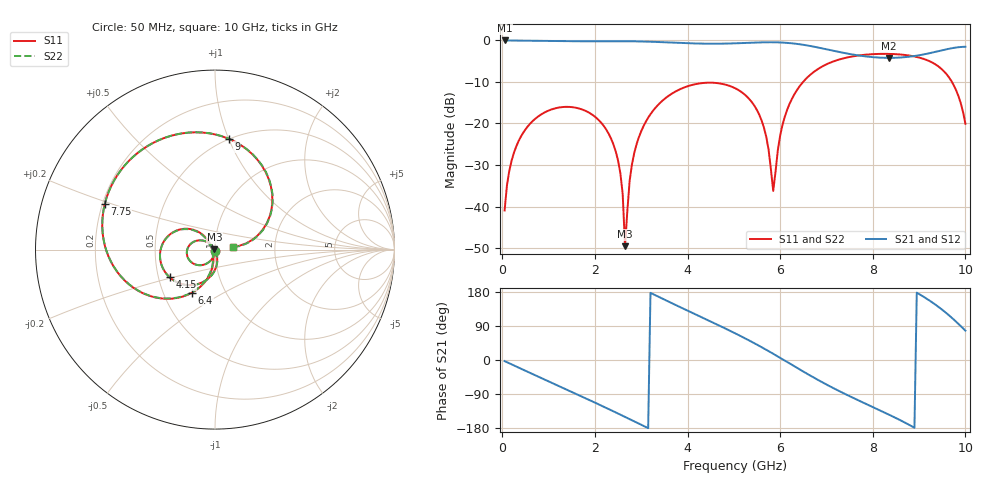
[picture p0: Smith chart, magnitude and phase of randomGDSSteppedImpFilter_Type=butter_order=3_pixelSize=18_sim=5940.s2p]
! freq	dB(S11)	phase(S11)	dB(S12)	phase(S12)
!  dB(S21)	phase(S21)	dB(S22)	phase(S22)
!S-par simulation data
#  GHz  S  DB  R 50
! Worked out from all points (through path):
!   200 points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, 50 MHz to 10 GHz, reference 50 ohm
!   highest |S21| = 0.00 dB at 50 MHz (marker M1); lowest = -4.2 dB at 8.35 GHz (marker M2)
!   group delay of S21, straight-line fit = 173 ps
!   lowest |S11| = -49.5 dB at 2.65 GHz (marker M3), VSWR 1.01, Z = 49.7 + j0.127 ohm
!   |S11| at or under -10 dB: start of sweep to 6.495 GHz; 9.709 GHz to end of sweep
!   |S22| runs from -50.8 to -3.2 dB; largest |S21 - S12| = 0
!   S11 on the Smith chart (normalised r, x): 50 MHz: 1.00, -0.02; 4.15 GHz: 0.57, -0.19; 6.4 GHz: 0.70, -0.36; 7.75 GHz: 0.21, +0.19; 9 GHz: 0.50, +1.00; 10 GHz: 1.22, +0.04
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0.05  -40.95 -92.4  -0.00 -2.9  -0.00 -2.9  -40.95 -92.4
0.2  -28.98 -101.4  -0.03 -11.5  -0.03 -11.5  -28.98 -101.4
0.55  -20.70 -121.5  -0.07 -31.3  -0.07 -31.3  -20.70 -121.5
1.75  -16.74 171.3  -0.21 -98.3  -0.21 -98.3  -16.74 171.1
2.45  -26.74 132.5  -0.18 -138.4  -0.18 -138.4  -26.74 131.6
2.6  -37.00 128.1  -0.18 -147.2  -0.18 -147.2  -37.05 124.4
2.65  -49.54 157.5  -0.19 -150.1  -0.19 -150.1  -50.79 137.2
2.75  -33.80 -71.2  -0.20 -156.0  -0.20 -156.0  -33.82 -68.4
2.85  -27.08 -74.8  -0.21 -162.0  -0.21 -162.0  -27.08 -73.4
3.4  -15.11 -105.8  -0.39 165.3  -0.39 165.3  -15.11 -105.3
4.15  -10.57 -148.7  -0.72 121.6  -0.72 121.6  -10.57 -148.3
5.05  -11.64 160.3  -0.69 69.1  -0.69 69.1  -11.64 160.9
5.6  -19.29 129.7  -0.46 33.8  -0.46 33.8  -19.27 131.1
5.85  -36.26 -170.2  -0.44 16.4  -0.44 16.4  -34.90 -169.3
6.05  -20.37 -98.1  -0.51 2.1  -0.51 2.1  -20.32 -99.7
6.4  -11.35 -117.9  -0.88 -23.3  -0.88 -23.3  -11.34 -118.4
6.7  -7.81 -138.1  -1.44 -44.6  -1.44 -44.6  -7.81 -138.4
7.75  -3.54 157.3  -3.71 -109.9  -3.71 -109.9  -3.54 157.2
8.35  -3.24 123.4  -4.20 -144.2  -4.20 -144.2  -3.24 123.2
9  -4.12 83.0  -3.57 174.1  -3.57 174.1  -4.12 82.8
9.65  -8.96 31.3  -1.99 117.5  -1.99 117.5  -8.96 30.8
10  -20.07 8.8  -1.52 77.5  -1.52 77.5  -20.11 7.7
